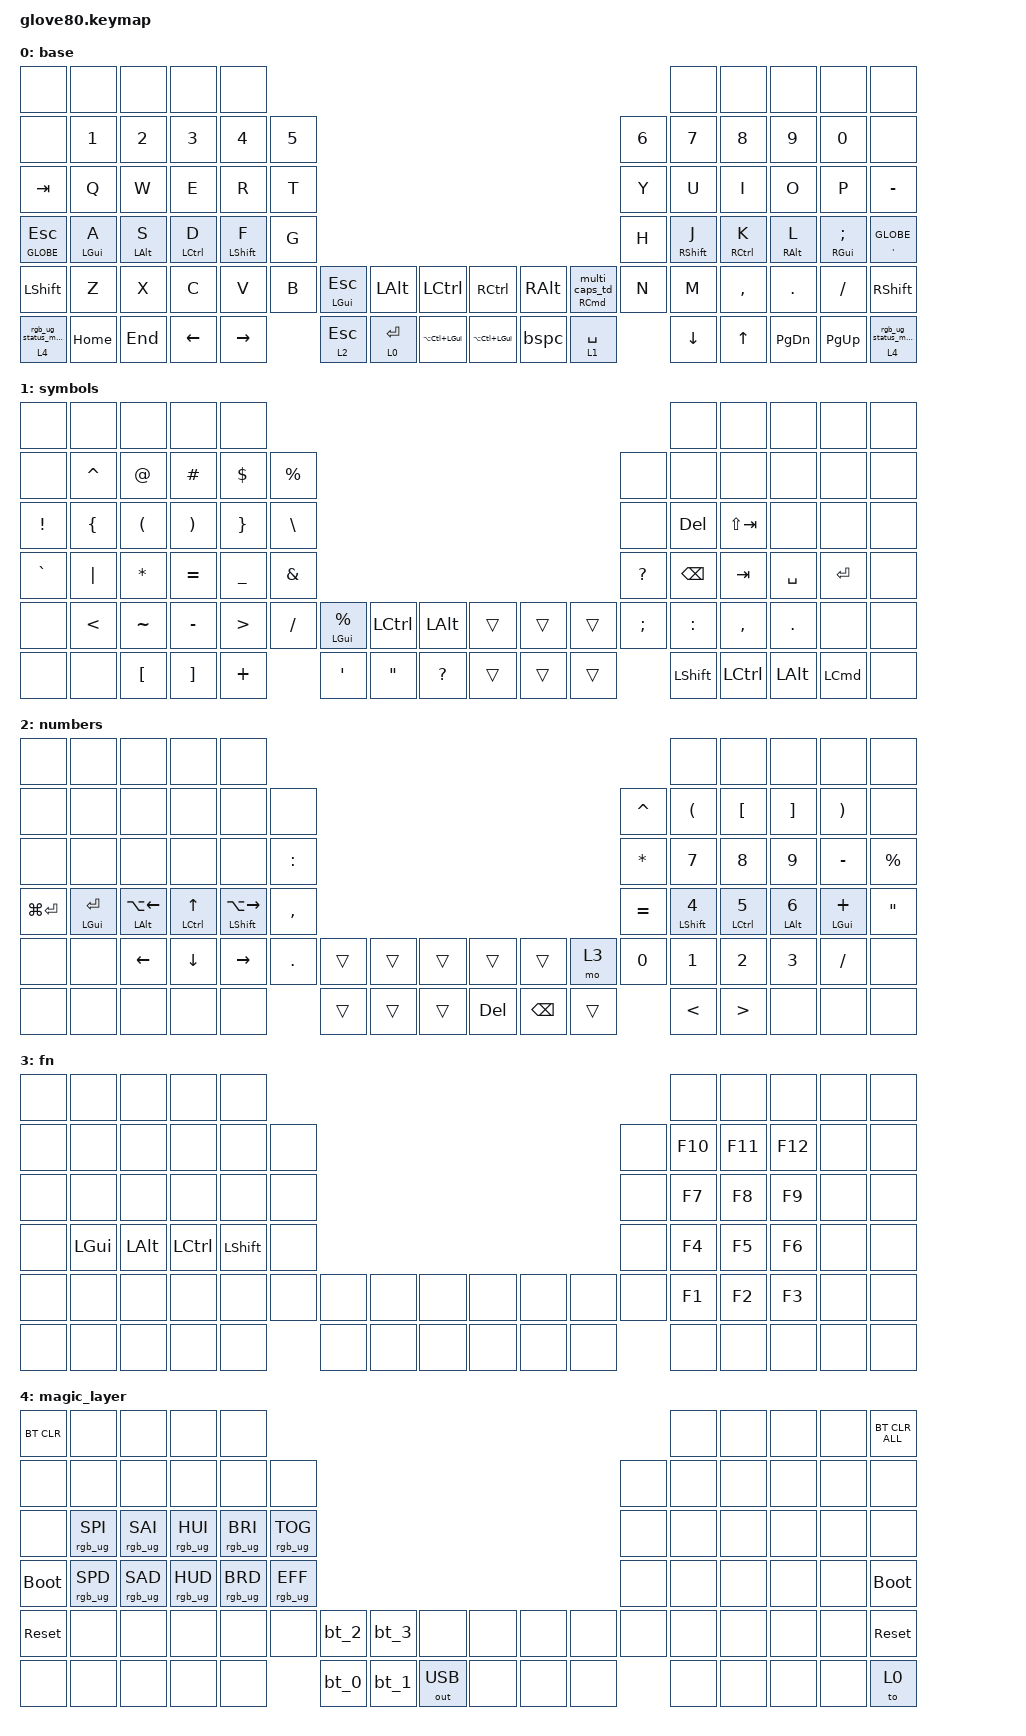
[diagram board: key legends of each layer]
#include <behaviors.dtsi>
#include <dt-bindings/zmk/bt.h>
#include <dt-bindings/zmk/keys.h>
#include <dt-bindings/zmk/outputs.h>
#include <dt-bindings/zmk/rgb.h>

/* Empty Layer Template
layer_name {
    bindings = <
    &none &none &none &none &none                                                 &none &none &none &none &none
    &none &none &none &none &none &none                                     &none &none &none &none &none &none
    &none &none &none &none &none &none                                     &none &none &none &none &none &none
    &none &none &none &none &none &none                                     &none &none &none &none &none &none
    &none &none &none &none &none &none &none &none &none &none &none &none &none &none &none &none &none &none
    &none &none &none &none &none       &none &none &none &none &none &none &none &none &none &none &none
    >;
};
*/
// Glove80 key positions index for positional hold-tap
// - https://discord.com/channels/877392805654306816/937645688244826154/1066713913351221248
// - https://media.discordapp.net/attachments/937645688244826154/1066713913133121556/image.png
//
// |------------------------|------------------------|
// | LEFT_HAND_KEYS         |        RIGHT_HAND_KEYS |
// |                        |                        |
// |  0  1  2  3  4         |          5  6  7  8  9 |
// | 10 11 12 13 14 15      |      16 17 18 19 20 21 |
// | 22 23 24 25 26 27      |      28 29 30 31 32 33 |
// | 34 35 36 37 38 39      |      40 41 42 43 44 45 |
// | 46 47 48 49 50 51      |      58 59 60 61 62 63 |
// | 64 65 66 67 68         |         75 76 77 78 79 |
// |                69 52   |   57 74                |
// |                 70 53  |  56 73                 |
// |                  71 54 | 55 72                  |
// |------------------------|------------------------|
//

#define LEFT_HAND_KEYS      \
      0  1  2  3  4         \
      10 11 12 13 14 15      \
      22 23 24 25 26 27      \
      34 35 36 37 38 39      \
      46 47 48 49 50 51      \
      64 65 66 67 68
#define THUMB_KEYS          \
                    69 52       57 74                \
                      70 53     56 73                 \
                      71 54   55 72
#define RIGHT_HAND_KEYS     \
                                      5  6  7  8  9 \
                                  16 17 18 19 20 21 \
                                  28 29 30 31 32 33 \
                                  40 41 42 43 44 45 \
                                  58 59 60 61 62 63 \
                                    75 76 77 78 79
#define LEADER LC(LG(LALT))

// layers

#define LBASE 0
#define LRHS 1
#define LLHS 2
#define LNUM 3
#define MAGIC 4
#define FACTORY_TEST 5

&caps_word { mods = <(MOD_LSFT|MOD_RSFT)>; };

/ {
    behaviors {
        magic: magic_hold_tap {
            compatible = "zmk,behavior-hold-tap";
            label = "MAGIC_HOLD_TAP";
            #binding-cells = <2>;
            flavor = "tap-preferred";
            tapping-term-ms = <200>;
            bindings = <&mo>, <&rgb_ug_status_macro>;
        };

        lhs_tap: left_hand_layer_tap {
            compatible = "zmk,behavior-hold-tap";
            #binding-cells = <2>;
            flavor = "tap-preferred";
            tapping-term-ms = <180>;
            bindings = <&mo>, <&kp>;
        };

        lhmi: left_homerow_mod_index_finger {
            compatible = "zmk,behavior-hold-tap";
            #binding-cells = <2>;
            flavor = "balanced";
            tapping-term-ms = <170>;
            quick-tap-ms = <170>;
            bindings = <&kp>, <&kp>;

            hold-trigger-key-positions = <RIGHT_HAND_KEYS THUMB_KEYS>;
        };

        lhmm: left_homerow_mod_middle_finger {
            compatible = "zmk,behavior-hold-tap";
            #binding-cells = <2>;
            flavor = "tap-preferred";
            tapping-term-ms = <200>;
            quick-tap-ms = <200>;
            require-prior-idle-ms = <125>;
            bindings = <&kp>, <&kp>;

            hold-trigger-key-positions = <RIGHT_HAND_KEYS THUMB_KEYS>;
        };

        lhmr: left_homerow_mod_ring_finger {
            compatible = "zmk,behavior-hold-tap";
            #binding-cells = <2>;
            flavor = "tap-preferred";
            tapping-term-ms = <200>;
            quick-tap-ms = <200>;
            require-prior-idle-ms = <125>;
            bindings = <&kp>, <&kp>;

            hold-trigger-key-positions = <RIGHT_HAND_KEYS THUMB_KEYS>;
        };

        lhmp: left_homerow_mod_pinky_finger {
            compatible = "zmk,behavior-hold-tap";
            #binding-cells = <2>;
            flavor = "tap-preferred";
            tapping-term-ms = <200>;
            quick-tap-ms = <200>;
            require-prior-idle-ms = <125>;
            bindings = <&kp>, <&kp>;

            hold-trigger-key-positions = <RIGHT_HAND_KEYS THUMB_KEYS>;
        };

        rhmi: right_homerow_mod_index_finger {
            compatible = "zmk,behavior-hold-tap";
            #binding-cells = <2>;
            flavor = "balanced";
            tapping-term-ms = <170>;
            quick-tap-ms = <170>;
            bindings = <&kp>, <&kp>;

            hold-trigger-key-positions = <LEFT_HAND_KEYS THUMB_KEYS>;
        };

        rhmm: right_homerow_mod_middle_finger {
            compatible = "zmk,behavior-hold-tap";
            #binding-cells = <2>;
            flavor = "tap-preferred";
            tapping-term-ms = <200>;
            quick-tap-ms = <200>;
            require-prior-idle-ms = <125>;
            bindings = <&kp>, <&kp>;

            hold-trigger-key-positions = <LEFT_HAND_KEYS THUMB_KEYS>;
        };

        rhmr: right_homerow_mod_ring_finger {
            compatible = "zmk,behavior-hold-tap";
            #binding-cells = <2>;
            flavor = "tap-preferred";
            tapping-term-ms = <200>;
            quick-tap-ms = <200>;
            require-prior-idle-ms = <125>;
            bindings = <&kp>, <&kp>;

            hold-trigger-key-positions = <LEFT_HAND_KEYS THUMB_KEYS>;
        };

        rhmp: right_homerow_mod_pinky_finger {
            compatible = "zmk,behavior-hold-tap";
            #binding-cells = <2>;
            flavor = "tap-preferred";
            tapping-term-ms = <200>;
            quick-tap-ms = <200>;
            require-prior-idle-ms = <125>;
            bindings = <&kp>, <&kp>;

            hold-trigger-key-positions = <LEFT_HAND_KEYS THUMB_KEYS>;
        };

        bspc: backspace_delete {
            compatible = "zmk,behavior-mod-morph";
            label = "BACKSPACE_DELETE";
            bindings = <&kp BACKSPACE>, <&kp DELETE>;

            #binding-cells = <0>;
            mods = <(MOD_LSFT|MOD_RSFT)>;
        };

        hrm_slow: hrm_slow {
            compatible = "zmk,behavior-hold-tap";
            #binding-cells = <2>;
            flavor = "tap-preferred";
            tapping-term-ms = <200>;
            bindings = <&kp>, <&kp>;

            label = "HRM_SLOW";
        };

        multi_caps_td: multi_caps_td {
            compatible = "zmk,behavior-tap-dance";
            label = "MULTI_CAPS_TD";
            #binding-cells = <0>;
            bindings = <&caps_word>, <&kp CAPS>;
        };

        multi_caps_ht: multi_caps_ht {
            compatible = "zmk,behavior-hold-tap";
            label = "MULTI_CAPS_HT";
            bindings = <&kp>, <&multi_caps_td>;

            #binding-cells = <2>;
            tapping-term-ms = <200>;
        };
    };

    macros {
        rgb_ug_status_macro: rgb_ug_status_macro_0 {
            label = "RGB_UG_STATUS";
            compatible = "zmk,behavior-macro";
            #binding-cells = <0>;
            bindings = <&rgb_ug RGB_STATUS>;
        };

        bt_0: bt_profile_macro_0 {
            label = "BT_0";
            compatible = "zmk,behavior-macro";
            #binding-cells = <0>;
            bindings = <&out OUT_BLE &bt BT_SEL 0>;
        };

        bt_1: bt_profile_macro_1 {
            label = "BT_1";
            compatible = "zmk,behavior-macro";
            #binding-cells = <0>;
            bindings = <&out OUT_BLE &bt BT_SEL 1>;
        };

        bt_2: bt_profile_macro_2 {
            label = "BT_2";
            compatible = "zmk,behavior-macro";
            #binding-cells = <0>;
            bindings = <&out OUT_BLE &bt BT_SEL 2>;
        };

        bt_3: bt_profile_macro_3 {
            label = "BT_3";
            compatible = "zmk,behavior-macro";
            #binding-cells = <0>;
            bindings = <&out OUT_BLE &bt BT_SEL 3>;
        };

        select_word_right: select_word_right {
            compatible = "zmk,behavior-macro";
            #binding-cells = <0>;
            bindings = <&kp LA(RIGHT) &kp LA(LEFT) &kp LA(LS(RIGHT))>;
            label = "SELECT_WORD_RIGHT";
            wait-ms = <1>;
            tap-ms = <1>;
        };

        select_word_left: select_word_left {
            compatible = "zmk,behavior-macro";
            #binding-cells = <0>;
            bindings = <&kp LA(RIGHT) &kp LA(LEFT) &kp LA(LS(LEFT))>;
            label = "SELECT_WORD_LEFT";
            wait-ms = <1>;
            tap-ms = <1>;
        };

        select_line_right: select_line_right {
            compatible = "zmk,behavior-macro";
            #binding-cells = <0>;
            bindings = <&kp HOME &kp LS(END)>;
            label = "SELECT_LINE_RIGHT";
            wait-ms = <1>;
            tap-ms = <1>;
        };

        select_line_left: select_line_left {
            compatible = "zmk,behavior-macro";
            #binding-cells = <0>;
            bindings = <&kp END &kp LS(HOME)>;
            label = "SELECT_LINE_LEFT";
            wait-ms = <1>;
            tap-ms = <1>;
        };

        triple_zero: triple_zero {
            compatible = "zmk,behavior-macro";
            #binding-cells = <0>;
            bindings = <&kp N0 &kp N0 &kp N0>;
            label = "TRIPLE_ZERO";
        };
    };

    keymap {
        compatible = "zmk,keymap";

        base {
            bindings = <
&none            &none         &none         &none          &none                                                                                                                          &none          &none          &none              &none                      &none
&none            &kp N1        &kp N2        &kp N3         &kp N4         &kp N5                                                                                                  &kp N6  &kp N7         &kp N8         &kp N9             &kp N0                     &none
&kp TAB          &kp Q         &kp W         &kp E          &kp R          &kp T                                                                                                   &kp Y   &kp U          &kp I          &kp O              &kp P                      &kp MINUS
&lhmp GLOBE ESC  &lhmp LGUI A  &lhmr LALT S  &lhmm LCTRL D  &lhmi LSHFT F  &kp G                                                                                                   &kp H   &rhmi RSHFT J  &rhmm RCTRL K  &rhmr RIGHT_ALT L  &rhmp RIGHT_GUI SEMICOLON  &rhmp SQT GLOBE
&kp LSHIFT       &kp Z         &kp X         &kp C          &kp V          &kp B   &mt LGUI ESC  &kp LALT     &kp LCTRL         &kp RCTRL         &kp RALT  &multi_caps_ht RCMD 0  &kp N   &kp M          &kp COMMA      &kp DOT            &kp SLASH                  &kp RSHIFT
&magic 4 0       &kp HOME      &kp END       &kp LEFT       &kp RIGHT              &lt 2 ESC     &lt 0 ENTER  &kp LA(LC(LGUI))  &kp LA(LC(LGUI))  &bspc     &lhs_tap 1 SPACE               &kp DOWN       &kp UP         &kp PG_DN          &kp PG_UP                  &magic 4 0
            >;
        };

        symbols {
            bindings = <
&none      &none      &none      &none      &none                                                                                          &none       &none        &none      &none      &none
&none      &kp CARET  &kp AT     &kp HASH   &kp DLLR   &kp PRCNT                                                                &none      &none       &none        &none      &none      &none
&kp EXCL   &kp LBRC   &kp LPAR   &kp RPAR   &kp RBRC   &kp BSLH                                                                 &none      &kp DEL     &kp LS(TAB)  &none      &none      &none
&kp GRAVE  &kp PIPE   &kp STAR   &kp EQUAL  &kp UNDER  &kp AMPS                                                                 &kp QMARK  &kp BSPC    &kp TAB      &kp SPACE  &kp ENTER  &none
&none      &kp LT     &kp TILDE  &kp MINUS  &kp GT     &kp SLASH  &mt LGUI PRCNT  &kp LCTRL  &kp LALT   &trans  &trans  &trans  &kp SEMI   &kp COLON   &kp COMMA    &kp DOT    &none      &none
&none      &none      &kp LBKT   &kp RBKT   &kp PLUS              &kp SQT         &kp DQT    &kp QMARK  &trans  &trans  &trans             &kp LSHIFT  &kp LCTRL    &kp LALT   &kp LCMD   &none
            >;
        };

        numbers {
            bindings = <
&none          &none             &none                &none                 &none                                                                                           &none               &none               &none              &none                &none
&none          &none             &none                &none                 &none                  &none                                                         &kp CARET  &kp LPAR            &kp LBKT            &kp RBKT           &kp RPAR             &none
&none          &none             &none                &none                 &none                  &kp COLON                                                     &kp STAR   &kp N7              &kp N8              &kp N9             &kp MINUS            &kp PRCNT
&kp LG(ENTER)  &lhmp LGUI ENTER  &lhmr LALT LA(LEFT)  &lhmp LCTRL UP_ARROW  &lhmi LSHFT LA(RIGHT)  &kp COMMA                                                     &kp EQUAL  &hrm_slow LSHFT N4  &hrm_slow LCTRL N5  &hrm_slow LALT N6  &hrm_slow LGUI PLUS  &kp DQT
&none          &none             &kp LEFT             &kp DOWN              &kp RIGHT              &kp DOT    &trans  &trans  &trans  &trans   &trans    &mo 3   &kp N0     &kp N1              &kp N2              &kp N3             &kp FSLH             &none
&none          &none             &none                &none                 &none                             &trans  &trans  &trans  &kp DEL  &kp BSPC  &trans             &kp LT              &kp GREATER_THAN    &none              &none                &none
            >;
        };

        fn {
            bindings = <
&none  &none     &none         &none      &none                                                              &none    &none    &none    &none  &none
&none  &none     &none         &none      &none      &none                                            &none  &kp F10  &kp F11  &kp F12  &none  &none
&none  &none     &none         &none      &none      &none                                            &none  &kp F7   &kp F8   &kp F9   &none  &none
&none  &kp LGUI  &kp LEFT_ALT  &kp LCTRL  &kp LSHFT  &none                                            &none  &kp F4   &kp F5   &kp F6   &none  &none
&none  &none     &none         &none      &none      &none  &none  &none  &none  &none  &none  &none  &none  &kp F1   &kp F2   &kp F3   &none  &none
&none  &none     &none         &none      &none             &none  &none  &none  &none  &none  &none         &none    &none    &none    &none  &none
            >;
        };

        magic_layer {
            bindings = <
&bt BT_CLR   &none            &none            &none            &none                                                                                     &none  &none  &none  &none  &bt BT_CLR_ALL
&none        &none            &none            &none            &none            &none                                                             &none  &none  &none  &none  &none  &none
&none        &rgb_ug RGB_SPI  &rgb_ug RGB_SAI  &rgb_ug RGB_HUI  &rgb_ug RGB_BRI  &rgb_ug RGB_TOG                                                   &none  &none  &none  &none  &none  &none
&bootloader  &rgb_ug RGB_SPD  &rgb_ug RGB_SAD  &rgb_ug RGB_HUD  &rgb_ug RGB_BRD  &rgb_ug RGB_EFF                                                   &none  &none  &none  &none  &none  &bootloader
&sys_reset   &none            &none            &none            &none            &none            &bt_2  &bt_3  &none         &none  &none  &none  &none  &none  &none  &none  &none  &sys_reset
&none        &none            &none            &none            &none                             &bt_0  &bt_1  &out OUT_USB  &none  &none  &none         &none  &none  &none  &none  &to 0
            >;
        };
    };
};
